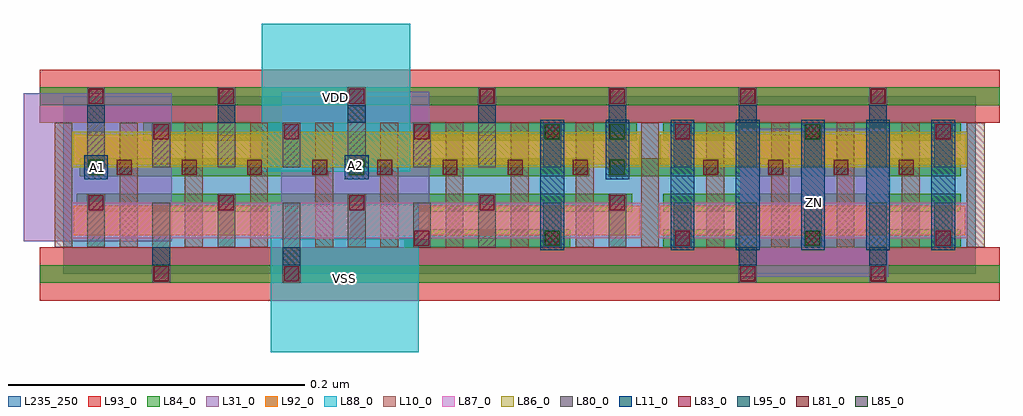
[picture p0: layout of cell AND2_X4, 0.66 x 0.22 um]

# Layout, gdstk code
import gdstk
lib = gdstk.Library(unit=1e-6, precision=1e-09)
def R(c, l, rs):  # rectangles x0, y0, x1, y1
    for r in rs: c.add(gdstk.rectangle(r[:2], r[2:], *l))
def A(c, l, x, y, w, h, nx, ny, dx, dy):  # array of equal rectangles
    R(c, l, [(x+i*dx, y+j*dy, x+i*dx+w, y+j*dy+h) for i in range(nx) for j in range(ny)])
L10_0 = (10, 0)
L11_0 = (11, 0)
L31_0 = (31, 0)
L80_0 = (80, 0)
L81_0 = (81, 0)
L83_0 = (83, 0)
L84_0 = (84, 0)
L85_0 = (85, 0)
L86_0 = (86, 0)
L87_0 = (87, 0)
L88_0 = (88, 0)
L92_0 = (92, 0)
L93_0 = (93, 0)
L95_0 = (95, 0)
L235_250 = (235, 250)

and2_x4 = lib.new_cell('AND2_X4')
A(and2_x4, L10_0, -0.006, 0.018, 0.012, 0.084, 15, 1, 0.044, 0)
A(and2_x4, L11_0, 0.41, 0.016, 0.016, 0.088, 5, 1, 0.044, 0)
R(and2_x4, L11_0, [(0.322,0.016,0.338,0.104), (0.014,0.064,0.03,0.08), (0.19,0.064,0.206,0.08), (0.366,0.064,0.382,0.104)])
R(and2_x4, L31_0, [(0.457,-0.002,0.557,0.098), (-0.027,0.022,0.073,0.122), (0.147,0.023,0.247,0.123)])
A(and2_x4, L80_0, 0.016, 0.018, 0.012, 0.036, 5, 1, 0.088, 0)
A(and2_x4, L80_0, 0.236, 0.018, 0.012, 0.03, 5, 1, 0.088, 0)
A(and2_x4, L80_0, 0.016, 0.072, 0.012, 0.054, 7, 1, 0.088, 0)
A(and2_x4, L80_0, 0.06, 0.072, 0.012, 0.03, 7, 1, 0.088, 0)
R(and2_x4, L80_0, [(0.06,-0.006,0.072,0.048), (0.148,-0.006,0.16,0.048), (0.456,-0.006,0.468,0.048), (0.544,-0.006,0.556,0.048)])
A(and2_x4, L81_0, 0.036, 0.067, 0.01, 0.01, 8, 1, 0.044, 0)
A(and2_x4, L81_0, 0.432, 0.067, 0.01, 0.01, 4, 1, 0.044, 0)
A(and2_x4, L83_0, 0.237, 0.019, 0.01, 0.01, 5, 1, 0.088, 0)
A(and2_x4, L83_0, 0.017, 0.043, 0.01, 0.01, 5, 1, 0.088, 0)
A(and2_x4, L83_0, 0.061, 0.091, 0.01, 0.01, 7, 1, 0.088, 0)
A(and2_x4, L83_0, 0.017, 0.115, 0.01, 0.01, 7, 1, 0.088, 0)
R(and2_x4, L83_0, [(0.061,-0.005,0.071,0.005), (0.149,-0.005,0.159,0.005), (0.457,-0.005,0.467,0.005), (0.545,-0.005,0.555,0.005)])
R(and2_x4, L84_0, [(-0.016,-0.006,0.632,0.006), (0.23,0.018,0.342,0.03), (0.405,0.018,0.606,0.03), (0.009,0.042,0.384,0.054), (0.405,0.042,0.606,0.054), (0.011,0.066,0.179,0.078), (0.192,0.066,0.355,0.078), (0.368,0.066,0.606,0.078), (0.054,0.09,0.387,0.102), (0.405,0.09,0.606,0.102), (-0.016,0.114,0.632,0.126)])
A(and2_x4, L85_0, 0.017, 0.067, 0.01, 0.01, 3, 1, 0.176, 0)
R(and2_x4, L85_0, [(0.325,0.019,0.335,0.029), (0.501,0.019,0.511,0.029), (0.325,0.091,0.335,0.101), (0.369,0.091,0.379,0.101), (0.501,0.091,0.511,0.101)])
R(and2_x4, L86_0, [(0.006,0.072,0.39,0.096), (0.402,0.072,0.61,0.096)])
R(and2_x4, L87_0, [(0.006,0.024,0.39,0.048), (0.402,0.024,0.61,0.048)])
R(and2_x4, L88_0, [(0.14,-0.053,0.24,0.047), (0.134,0.069,0.234,0.169)])
R(and2_x4, L92_0, [(0.007,0.026,0.389,0.046), (0.403,0.026,0.609,0.046), (0.007,0.074,0.389,0.094), (0.403,0.074,0.609,0.094)])
R(and2_x4, L93_0, [(-0.016,-0.018,0.632,0.018), (-0.016,0.102,0.632,0.138)])
A(and2_x4, L95_0, 0.016, 0.102, 0.012, 0.012, 7, 1, 0.088, 0)
R(and2_x4, L95_0, [(0.06,0.006,0.072,0.018), (0.148,0.006,0.16,0.018), (0.456,0.006,0.468,0.018), (0.544,0.006,0.556,0.018)])
R(and2_x4, L235_250, [(0,0,0.616,0.12)])
and2_x4.add(gdstk.Label('VDD', (0.184,0.119), layer=88, texttype=0))
and2_x4.add(gdstk.Label('VSS', (0.19,-0.003), layer=88, texttype=0))
and2_x4.add(gdstk.Label('A1', (0.023,0.072), layer=31, texttype=0))
and2_x4.add(gdstk.Label('A2', (0.197,0.073), layer=31, texttype=0))
and2_x4.add(gdstk.Label('ZN', (0.507,0.048), layer=31, texttype=0))

lib.write_gds('AND2_X4.gds')
